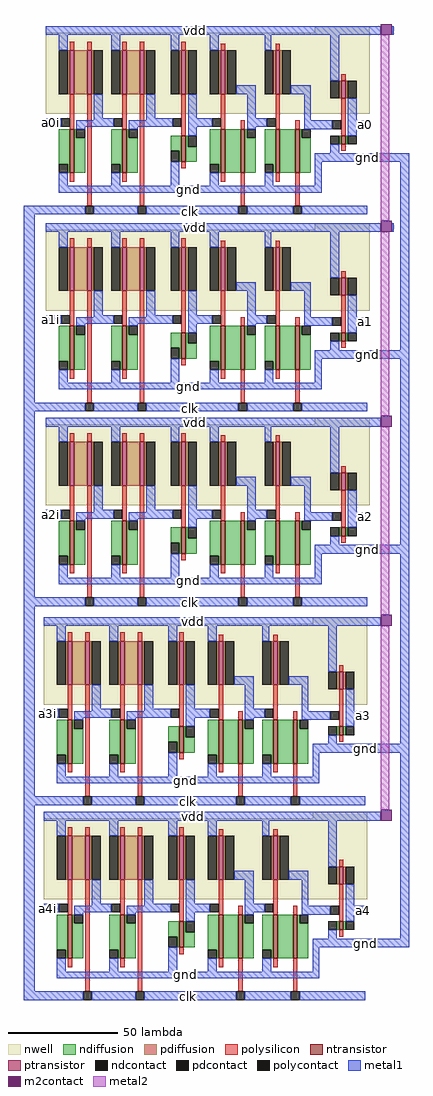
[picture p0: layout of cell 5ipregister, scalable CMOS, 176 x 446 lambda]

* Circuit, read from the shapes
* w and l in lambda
.subckt 5ipregister a0 a0i a1 a1i a2 a2i a3 a3i a4 a4i clk gnd vdd
M1 n1 a4i gnd VSUBS nfet w=20 l=2
M2 n2 a3i gnd VSUBS nfet w=20 l=2
M3 n3 a2i gnd VSUBS nfet w=20 l=2
M4 n4 a1i gnd VSUBS nfet w=20 l=2
M5 n5 a0i gnd VSUBS nfet w=20 l=2
M6 n6 n1 gnd VSUBS nfet w=20 l=2
M7 n7 n2 gnd VSUBS nfet w=20 l=2
M8 n8 n3 gnd VSUBS nfet w=20 l=2
M9 n9 n4 gnd VSUBS nfet w=20 l=2
M10 n10 n5 gnd VSUBS nfet w=20 l=2
M11 n11 n6 gnd VSUBS nfet w=12 l=2
M12 n12 n7 gnd VSUBS nfet w=12 l=2
M13 n13 n8 gnd VSUBS nfet w=12 l=2
M14 n14 n9 gnd VSUBS nfet w=12 l=2
M15 n15 n10 gnd VSUBS nfet w=12 l=2
M16 n16 n11 gnd VSUBS nfet w=20 l=2
M17 n17 n12 gnd VSUBS nfet w=20 l=2
M18 n18 n13 gnd VSUBS nfet w=20 l=2
M19 n19 n14 gnd VSUBS nfet w=20 l=2
M20 n20 n15 gnd VSUBS nfet w=20 l=2
M21 n21 clk n16 VSUBS nfet w=20 l=2
M22 n22 clk n17 VSUBS nfet w=20 l=2
M23 n23 clk n18 VSUBS nfet w=20 l=2
M24 n24 clk n19 VSUBS nfet w=20 l=2
M25 n25 clk n20 VSUBS nfet w=20 l=2
M26 n26 n21 gnd VSUBS nfet w=20 l=2
M27 n27 n22 gnd VSUBS nfet w=20 l=2
M28 n28 n23 gnd VSUBS nfet w=20 l=2
M29 n29 n24 gnd VSUBS nfet w=20 l=2
M30 n30 n25 gnd VSUBS nfet w=20 l=2
M31 n31 clk n26 VSUBS nfet w=20 l=2
M32 n32 clk n27 VSUBS nfet w=20 l=2
M33 n33 clk n28 VSUBS nfet w=20 l=2
M34 n34 clk n29 VSUBS nfet w=20 l=2
M35 n35 clk n30 VSUBS nfet w=20 l=2
M36 a4 n31 gnd VSUBS nfet w=4 l=2
M37 a3 n32 gnd VSUBS nfet w=4 l=2
M38 a2 n33 gnd VSUBS nfet w=4 l=2
M39 a1 n34 gnd VSUBS nfet w=4 l=2
M40 a0 n35 gnd VSUBS nfet w=4 l=2
M41 n36 a4i vdd n37 pfet w=20 l=2
M42 n38 a3i vdd n39 pfet w=20 l=2
M43 n40 a2i vdd n41 pfet w=20 l=2
M44 n42 a1i vdd n43 pfet w=20 l=2
M45 n44 a0i vdd n45 pfet w=20 l=2
M46 n1 clk n36 n37 pfet w=20 l=2
M47 n2 clk n38 n39 pfet w=20 l=2
M48 n3 clk n40 n41 pfet w=20 l=2
M49 n4 clk n42 n43 pfet w=20 l=2
M50 n5 clk n44 n45 pfet w=20 l=2
M51 n46 n1 vdd n37 pfet w=20 l=2
M52 n47 n2 vdd n39 pfet w=20 l=2
M53 n48 n3 vdd n41 pfet w=20 l=2
M54 n49 n4 vdd n43 pfet w=20 l=2
M55 n50 n5 vdd n45 pfet w=20 l=2
M56 n6 clk n46 n37 pfet w=20 l=2
M57 n7 clk n47 n39 pfet w=20 l=2
M58 n8 clk n48 n41 pfet w=20 l=2
M59 n9 clk n49 n43 pfet w=20 l=2
M60 n10 clk n50 n45 pfet w=20 l=2
M61 n11 n6 vdd n37 pfet w=20 l=2
M62 n12 n7 vdd n39 pfet w=20 l=2
M63 n13 n8 vdd n41 pfet w=20 l=2
M64 n14 n9 vdd n43 pfet w=20 l=2
M65 n15 n10 vdd n45 pfet w=20 l=2
M66 n21 n11 vdd n37 pfet w=20 l=2
M67 n22 n12 vdd n39 pfet w=20 l=2
M68 n23 n13 vdd n41 pfet w=20 l=2
M69 n24 n14 vdd n43 pfet w=20 l=2
M70 n25 n15 vdd n45 pfet w=20 l=2
M71 n31 n21 vdd n37 pfet w=20 l=2
M72 n32 n22 vdd n39 pfet w=20 l=2
M73 n33 n23 vdd n41 pfet w=20 l=2
M74 n34 n24 vdd n43 pfet w=20 l=2
M75 n35 n25 vdd n45 pfet w=20 l=2
M76 a4 n31 vdd n37 pfet w=8 l=2
M77 a3 n32 vdd n39 pfet w=8 l=2
M78 a2 n33 vdd n41 pfet w=8 l=2
M79 a1 n34 vdd n43 pfet w=8 l=2
M80 a0 n35 vdd n45 pfet w=8 l=2
.ends

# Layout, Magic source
magic
tech scmos
<< nwell >>
rect 122 83 147 86
rect -1 46 147 83
rect 122 -7 147 -4
rect -1 -44 147 -7
rect 122 -96 147 -93
rect -1 -133 147 -96
rect 121 -187 146 -184
rect -2 -224 146 -187
rect 121 -276 146 -273
rect -2 -313 146 -276
<< ntransistor >>
rect 10 19 12 39
rect 34 19 36 39
rect 61 24 63 36
rect 79 19 81 39
rect 88 19 90 39
rect 104 19 106 39
rect 113 19 115 39
rect 134 32 136 36
rect 10 -71 12 -51
rect 34 -71 36 -51
rect 61 -66 63 -54
rect 79 -71 81 -51
rect 88 -71 90 -51
rect 104 -71 106 -51
rect 113 -71 115 -51
rect 134 -58 136 -54
rect 10 -160 12 -140
rect 34 -160 36 -140
rect 61 -155 63 -143
rect 79 -160 81 -140
rect 88 -160 90 -140
rect 104 -160 106 -140
rect 113 -160 115 -140
rect 134 -147 136 -143
rect 9 -251 11 -231
rect 33 -251 35 -231
rect 60 -246 62 -234
rect 78 -251 80 -231
rect 87 -251 89 -231
rect 103 -251 105 -231
rect 112 -251 114 -231
rect 133 -238 135 -234
rect 9 -340 11 -320
rect 33 -340 35 -320
rect 60 -335 62 -323
rect 78 -340 80 -320
rect 87 -340 89 -320
rect 103 -340 105 -320
rect 112 -340 114 -320
rect 133 -327 135 -323
<< ptransistor >>
rect 10 55 12 75
rect 18 55 20 75
rect 34 55 36 75
rect 42 55 44 75
rect 61 55 63 75
rect 79 55 81 75
rect 104 55 106 75
rect 134 53 136 61
rect 10 -35 12 -15
rect 18 -35 20 -15
rect 34 -35 36 -15
rect 42 -35 44 -15
rect 61 -35 63 -15
rect 79 -35 81 -15
rect 104 -35 106 -15
rect 134 -37 136 -29
rect 10 -124 12 -104
rect 18 -124 20 -104
rect 34 -124 36 -104
rect 42 -124 44 -104
rect 61 -124 63 -104
rect 79 -124 81 -104
rect 104 -124 106 -104
rect 134 -126 136 -118
rect 9 -215 11 -195
rect 17 -215 19 -195
rect 33 -215 35 -195
rect 41 -215 43 -195
rect 60 -215 62 -195
rect 78 -215 80 -195
rect 103 -215 105 -195
rect 133 -217 135 -209
rect 9 -304 11 -284
rect 17 -304 19 -284
rect 33 -304 35 -284
rect 41 -304 43 -284
rect 60 -304 62 -284
rect 78 -304 80 -284
rect 103 -304 105 -284
rect 133 -306 135 -298
<< ndiffusion >>
rect 5 23 10 39
rect 9 19 10 23
rect 12 35 13 39
rect 12 19 17 35
rect 29 23 34 39
rect 33 19 34 23
rect 36 35 37 39
rect 36 19 41 35
rect 56 29 61 36
rect 60 24 61 29
rect 63 31 64 36
rect 63 24 68 31
rect 74 23 79 39
rect 78 19 79 23
rect 81 19 88 39
rect 90 35 91 39
rect 90 19 95 35
rect 99 23 104 39
rect 103 19 104 23
rect 106 19 113 39
rect 115 35 116 39
rect 115 19 120 35
rect 133 32 134 36
rect 136 32 137 36
rect 5 -67 10 -51
rect 9 -71 10 -67
rect 12 -55 13 -51
rect 12 -71 17 -55
rect 29 -67 34 -51
rect 33 -71 34 -67
rect 36 -55 37 -51
rect 36 -71 41 -55
rect 56 -61 61 -54
rect 60 -66 61 -61
rect 63 -59 64 -54
rect 63 -66 68 -59
rect 74 -67 79 -51
rect 78 -71 79 -67
rect 81 -71 88 -51
rect 90 -55 91 -51
rect 90 -71 95 -55
rect 99 -67 104 -51
rect 103 -71 104 -67
rect 106 -71 113 -51
rect 115 -55 116 -51
rect 115 -71 120 -55
rect 133 -58 134 -54
rect 136 -58 137 -54
rect 5 -156 10 -140
rect 9 -160 10 -156
rect 12 -144 13 -140
rect 12 -160 17 -144
rect 29 -156 34 -140
rect 33 -160 34 -156
rect 36 -144 37 -140
rect 36 -160 41 -144
rect 56 -150 61 -143
rect 60 -155 61 -150
rect 63 -148 64 -143
rect 63 -155 68 -148
rect 74 -156 79 -140
rect 78 -160 79 -156
rect 81 -160 88 -140
rect 90 -144 91 -140
rect 90 -160 95 -144
rect 99 -156 104 -140
rect 103 -160 104 -156
rect 106 -160 113 -140
rect 115 -144 116 -140
rect 115 -160 120 -144
rect 133 -147 134 -143
rect 136 -147 137 -143
rect 4 -247 9 -231
rect 8 -251 9 -247
rect 11 -235 12 -231
rect 11 -251 16 -235
rect 28 -247 33 -231
rect 32 -251 33 -247
rect 35 -235 36 -231
rect 35 -251 40 -235
rect 55 -241 60 -234
rect 59 -246 60 -241
rect 62 -239 63 -234
rect 62 -246 67 -239
rect 73 -247 78 -231
rect 77 -251 78 -247
rect 80 -251 87 -231
rect 89 -235 90 -231
rect 89 -251 94 -235
rect 98 -247 103 -231
rect 102 -251 103 -247
rect 105 -251 112 -231
rect 114 -235 115 -231
rect 114 -251 119 -235
rect 132 -238 133 -234
rect 135 -238 136 -234
rect 4 -336 9 -320
rect 8 -340 9 -336
rect 11 -324 12 -320
rect 11 -340 16 -324
rect 28 -336 33 -320
rect 32 -340 33 -336
rect 35 -324 36 -320
rect 35 -340 40 -324
rect 55 -330 60 -323
rect 59 -335 60 -330
rect 62 -328 63 -323
rect 62 -335 67 -328
rect 73 -336 78 -320
rect 77 -340 78 -336
rect 80 -340 87 -320
rect 89 -324 90 -320
rect 89 -340 94 -324
rect 98 -336 103 -320
rect 102 -340 103 -336
rect 105 -340 112 -320
rect 114 -324 115 -320
rect 114 -340 119 -324
rect 132 -327 133 -323
rect 135 -327 136 -323
<< pdiffusion >>
rect 9 55 10 75
rect 12 55 18 75
rect 20 55 21 75
rect 33 55 34 75
rect 36 55 42 75
rect 44 55 45 75
rect 60 55 61 75
rect 63 55 64 75
rect 78 55 79 75
rect 81 55 82 75
rect 103 55 104 75
rect 106 55 107 75
rect 133 53 134 61
rect 136 53 137 61
rect 9 -35 10 -15
rect 12 -35 18 -15
rect 20 -35 21 -15
rect 33 -35 34 -15
rect 36 -35 42 -15
rect 44 -35 45 -15
rect 60 -35 61 -15
rect 63 -35 64 -15
rect 78 -35 79 -15
rect 81 -35 82 -15
rect 103 -35 104 -15
rect 106 -35 107 -15
rect 133 -37 134 -29
rect 136 -37 137 -29
rect 9 -124 10 -104
rect 12 -124 18 -104
rect 20 -124 21 -104
rect 33 -124 34 -104
rect 36 -124 42 -104
rect 44 -124 45 -104
rect 60 -124 61 -104
rect 63 -124 64 -104
rect 78 -124 79 -104
rect 81 -124 82 -104
rect 103 -124 104 -104
rect 106 -124 107 -104
rect 133 -126 134 -118
rect 136 -126 137 -118
rect 8 -215 9 -195
rect 11 -215 17 -195
rect 19 -215 20 -195
rect 32 -215 33 -195
rect 35 -215 41 -195
rect 43 -215 44 -195
rect 59 -215 60 -195
rect 62 -215 63 -195
rect 77 -215 78 -195
rect 80 -215 81 -195
rect 102 -215 103 -195
rect 105 -215 106 -195
rect 132 -217 133 -209
rect 135 -217 136 -209
rect 8 -304 9 -284
rect 11 -304 17 -284
rect 19 -304 20 -284
rect 32 -304 33 -284
rect 35 -304 41 -284
rect 43 -304 44 -284
rect 59 -304 60 -284
rect 62 -304 63 -284
rect 77 -304 78 -284
rect 80 -304 81 -284
rect 102 -304 103 -284
rect 105 -304 106 -284
rect 132 -306 133 -298
rect 135 -306 136 -298
<< ndcontact >>
rect 5 19 9 23
rect 13 35 17 39
rect 29 19 33 23
rect 37 35 41 39
rect 56 24 60 29
rect 64 31 68 36
rect 74 19 78 23
rect 91 35 95 39
rect 99 19 103 23
rect 116 35 120 39
rect 129 32 133 36
rect 137 32 141 36
rect 5 -71 9 -67
rect 13 -55 17 -51
rect 29 -71 33 -67
rect 37 -55 41 -51
rect 56 -66 60 -61
rect 64 -59 68 -54
rect 74 -71 78 -67
rect 91 -55 95 -51
rect 99 -71 103 -67
rect 116 -55 120 -51
rect 129 -58 133 -54
rect 137 -58 141 -54
rect 5 -160 9 -156
rect 13 -144 17 -140
rect 29 -160 33 -156
rect 37 -144 41 -140
rect 56 -155 60 -150
rect 64 -148 68 -143
rect 74 -160 78 -156
rect 91 -144 95 -140
rect 99 -160 103 -156
rect 116 -144 120 -140
rect 129 -147 133 -143
rect 137 -147 141 -143
rect 4 -251 8 -247
rect 12 -235 16 -231
rect 28 -251 32 -247
rect 36 -235 40 -231
rect 55 -246 59 -241
rect 63 -239 67 -234
rect 73 -251 77 -247
rect 90 -235 94 -231
rect 98 -251 102 -247
rect 115 -235 119 -231
rect 128 -238 132 -234
rect 136 -238 140 -234
rect 4 -340 8 -336
rect 12 -324 16 -320
rect 28 -340 32 -336
rect 36 -324 40 -320
rect 55 -335 59 -330
rect 63 -328 67 -323
rect 73 -340 77 -336
rect 90 -324 94 -320
rect 98 -340 102 -336
rect 115 -324 119 -320
rect 128 -327 132 -323
rect 136 -327 140 -323
<< pdcontact >>
rect 5 55 9 75
rect 21 55 25 75
rect 29 55 33 75
rect 45 55 49 75
rect 56 55 60 75
rect 64 55 68 75
rect 74 55 78 75
rect 82 55 86 75
rect 99 55 103 75
rect 107 55 111 75
rect 129 53 133 61
rect 137 53 141 61
rect 5 -35 9 -15
rect 21 -35 25 -15
rect 29 -35 33 -15
rect 45 -35 49 -15
rect 56 -35 60 -15
rect 64 -35 68 -15
rect 74 -35 78 -15
rect 82 -35 86 -15
rect 99 -35 103 -15
rect 107 -35 111 -15
rect 129 -37 133 -29
rect 137 -37 141 -29
rect 5 -124 9 -104
rect 21 -124 25 -104
rect 29 -124 33 -104
rect 45 -124 49 -104
rect 56 -124 60 -104
rect 64 -124 68 -104
rect 74 -124 78 -104
rect 82 -124 86 -104
rect 99 -124 103 -104
rect 107 -124 111 -104
rect 129 -126 133 -118
rect 137 -126 141 -118
rect 4 -215 8 -195
rect 20 -215 24 -195
rect 28 -215 32 -195
rect 44 -215 48 -195
rect 55 -215 59 -195
rect 63 -215 67 -195
rect 73 -215 77 -195
rect 81 -215 85 -195
rect 98 -215 102 -195
rect 106 -215 110 -195
rect 128 -217 132 -209
rect 136 -217 140 -209
rect 4 -304 8 -284
rect 20 -304 24 -284
rect 28 -304 32 -284
rect 44 -304 48 -284
rect 55 -304 59 -284
rect 63 -304 67 -284
rect 73 -304 77 -284
rect 81 -304 85 -284
rect 98 -304 102 -284
rect 106 -304 110 -284
rect 128 -306 132 -298
rect 136 -306 140 -298
<< polysilicon >>
rect 10 75 12 79
rect 18 75 20 79
rect 34 75 36 79
rect 42 75 44 79
rect 61 75 63 79
rect 79 75 81 78
rect 104 75 106 78
rect 134 61 136 64
rect 10 39 12 55
rect 10 15 12 19
rect 18 4 20 55
rect 34 39 36 55
rect 34 15 36 19
rect 42 4 44 55
rect 61 36 63 55
rect 79 39 81 55
rect 88 39 90 43
rect 104 39 106 55
rect 113 39 115 43
rect 61 21 63 24
rect 134 36 136 53
rect 134 29 136 32
rect 79 15 81 19
rect 88 4 90 19
rect 104 15 106 19
rect 113 4 115 19
rect 10 -15 12 -11
rect 18 -15 20 -11
rect 34 -15 36 -11
rect 42 -15 44 -11
rect 61 -15 63 -11
rect 79 -15 81 -12
rect 104 -15 106 -12
rect 134 -29 136 -26
rect 10 -51 12 -35
rect 10 -75 12 -71
rect 18 -86 20 -35
rect 34 -51 36 -35
rect 34 -75 36 -71
rect 42 -86 44 -35
rect 61 -54 63 -35
rect 79 -51 81 -35
rect 88 -51 90 -47
rect 104 -51 106 -35
rect 113 -51 115 -47
rect 61 -69 63 -66
rect 134 -54 136 -37
rect 134 -61 136 -58
rect 79 -75 81 -71
rect 88 -86 90 -71
rect 104 -75 106 -71
rect 113 -86 115 -71
rect 10 -104 12 -100
rect 18 -104 20 -100
rect 34 -104 36 -100
rect 42 -104 44 -100
rect 61 -104 63 -100
rect 79 -104 81 -101
rect 104 -104 106 -101
rect 134 -118 136 -115
rect 10 -140 12 -124
rect 10 -164 12 -160
rect 18 -175 20 -124
rect 34 -140 36 -124
rect 34 -164 36 -160
rect 42 -175 44 -124
rect 61 -143 63 -124
rect 79 -140 81 -124
rect 88 -140 90 -136
rect 104 -140 106 -124
rect 113 -140 115 -136
rect 61 -158 63 -155
rect 134 -143 136 -126
rect 134 -150 136 -147
rect 79 -164 81 -160
rect 88 -175 90 -160
rect 104 -164 106 -160
rect 113 -175 115 -160
rect 9 -195 11 -191
rect 17 -195 19 -191
rect 33 -195 35 -191
rect 41 -195 43 -191
rect 60 -195 62 -191
rect 78 -195 80 -192
rect 103 -195 105 -192
rect 133 -209 135 -206
rect 9 -231 11 -215
rect 9 -255 11 -251
rect 17 -266 19 -215
rect 33 -231 35 -215
rect 33 -255 35 -251
rect 41 -266 43 -215
rect 60 -234 62 -215
rect 78 -231 80 -215
rect 87 -231 89 -227
rect 103 -231 105 -215
rect 112 -231 114 -227
rect 60 -249 62 -246
rect 133 -234 135 -217
rect 133 -241 135 -238
rect 78 -255 80 -251
rect 87 -266 89 -251
rect 103 -255 105 -251
rect 112 -266 114 -251
rect 9 -284 11 -280
rect 17 -284 19 -280
rect 33 -284 35 -280
rect 41 -284 43 -280
rect 60 -284 62 -280
rect 78 -284 80 -281
rect 103 -284 105 -281
rect 133 -298 135 -295
rect 9 -320 11 -304
rect 9 -344 11 -340
rect 17 -355 19 -304
rect 33 -320 35 -304
rect 33 -344 35 -340
rect 41 -355 43 -304
rect 60 -323 62 -304
rect 78 -320 80 -304
rect 87 -320 89 -316
rect 103 -320 105 -304
rect 112 -320 114 -316
rect 60 -338 62 -335
rect 133 -323 135 -306
rect 133 -330 135 -327
rect 78 -344 80 -340
rect 87 -355 89 -340
rect 103 -344 105 -340
rect 112 -355 114 -340
<< polycontact >>
rect 6 40 10 44
rect 30 40 34 44
rect 57 40 61 44
rect 75 40 79 44
rect 100 40 104 44
rect 130 39 134 43
rect 17 0 21 4
rect 41 0 45 4
rect 87 0 91 4
rect 112 0 116 4
rect 6 -50 10 -46
rect 30 -50 34 -46
rect 57 -50 61 -46
rect 75 -50 79 -46
rect 100 -50 104 -46
rect 130 -51 134 -47
rect 17 -90 21 -86
rect 41 -90 45 -86
rect 87 -90 91 -86
rect 112 -90 116 -86
rect 6 -139 10 -135
rect 30 -139 34 -135
rect 57 -139 61 -135
rect 75 -139 79 -135
rect 100 -139 104 -135
rect 130 -140 134 -136
rect 17 -179 21 -175
rect 41 -179 45 -175
rect 87 -179 91 -175
rect 112 -179 116 -175
rect 5 -230 9 -226
rect 29 -230 33 -226
rect 56 -230 60 -226
rect 74 -230 78 -226
rect 99 -230 103 -226
rect 129 -231 133 -227
rect 16 -270 20 -266
rect 40 -270 44 -266
rect 86 -270 90 -266
rect 111 -270 115 -266
rect 5 -319 9 -315
rect 29 -319 33 -315
rect 56 -319 60 -315
rect 74 -319 78 -315
rect 99 -319 103 -315
rect 129 -320 133 -316
rect 16 -359 20 -355
rect 40 -359 44 -355
rect 86 -359 90 -355
rect 111 -359 115 -355
<< metal1 >>
rect -1 82 152 86
rect 157 82 158 86
rect 5 75 9 82
rect 29 75 33 82
rect 56 75 60 82
rect 74 75 78 82
rect 99 75 102 82
rect 86 55 95 59
rect 129 61 133 82
rect 111 55 120 59
rect 21 44 25 55
rect 45 44 49 55
rect 64 44 68 55
rect 91 44 95 55
rect -1 40 6 44
rect 21 43 30 44
rect 13 40 30 43
rect 45 43 57 44
rect 37 40 57 43
rect 64 40 75 44
rect 91 40 100 44
rect 117 43 120 55
rect 137 43 141 53
rect 13 39 17 40
rect 37 39 41 40
rect 64 36 68 40
rect 91 39 95 40
rect 117 39 130 43
rect 137 39 147 43
rect 137 36 141 39
rect 129 28 133 32
rect 5 13 9 19
rect 29 13 33 19
rect 56 13 60 24
rect 122 24 165 28
rect 74 13 78 19
rect 99 13 103 19
rect 122 13 125 24
rect 5 10 125 13
rect -11 0 17 4
rect 21 0 41 4
rect 45 0 87 4
rect 91 0 112 4
rect 116 0 146 4
rect -11 -86 -6 0
rect -1 -8 152 -4
rect 157 -8 158 -4
rect 5 -15 9 -8
rect 29 -15 33 -8
rect 56 -15 60 -8
rect 74 -15 78 -8
rect 99 -15 102 -8
rect 86 -35 95 -31
rect 129 -29 133 -8
rect 111 -35 120 -31
rect 21 -46 25 -35
rect 45 -46 49 -35
rect 64 -46 68 -35
rect 91 -46 95 -35
rect -1 -50 6 -46
rect 21 -47 30 -46
rect 13 -50 30 -47
rect 45 -47 57 -46
rect 37 -50 57 -47
rect 64 -50 75 -46
rect 91 -50 100 -46
rect 117 -47 120 -35
rect 137 -47 141 -37
rect 13 -51 17 -50
rect 37 -51 41 -50
rect 64 -54 68 -50
rect 91 -51 95 -50
rect 117 -51 130 -47
rect 137 -51 147 -47
rect 137 -54 141 -51
rect 129 -62 133 -58
rect 161 -62 165 24
rect 5 -77 9 -71
rect 29 -77 33 -71
rect 56 -77 60 -66
rect 122 -66 165 -62
rect 74 -77 78 -71
rect 99 -77 103 -71
rect 122 -77 125 -66
rect 5 -80 125 -77
rect -11 -90 17 -86
rect 21 -90 41 -86
rect 45 -90 87 -86
rect 91 -90 112 -86
rect 116 -90 146 -86
rect -11 -175 -6 -90
rect -1 -97 152 -93
rect 5 -104 9 -97
rect 29 -104 33 -97
rect 56 -104 60 -97
rect 74 -104 78 -97
rect 99 -104 102 -97
rect 86 -124 95 -120
rect 129 -118 133 -97
rect 111 -124 120 -120
rect 21 -135 25 -124
rect 45 -135 49 -124
rect 64 -135 68 -124
rect 91 -135 95 -124
rect -1 -139 6 -135
rect 21 -136 30 -135
rect 13 -139 30 -136
rect 45 -136 57 -135
rect 37 -139 57 -136
rect 64 -139 75 -135
rect 91 -139 100 -135
rect 117 -136 120 -124
rect 137 -136 141 -126
rect 13 -140 17 -139
rect 37 -140 41 -139
rect 64 -143 68 -139
rect 91 -140 95 -139
rect 117 -140 130 -136
rect 137 -140 147 -136
rect 137 -143 141 -140
rect 129 -151 133 -147
rect 161 -151 165 -66
rect 5 -166 9 -160
rect 29 -166 33 -160
rect 56 -166 60 -155
rect 122 -155 165 -151
rect 74 -166 78 -160
rect 99 -166 103 -160
rect 122 -166 125 -155
rect 5 -169 125 -166
rect -11 -179 17 -175
rect 21 -179 41 -175
rect 45 -179 87 -175
rect 91 -179 112 -175
rect 116 -179 146 -175
rect -11 -266 -6 -179
rect -2 -188 152 -184
rect 4 -195 8 -188
rect 28 -195 32 -188
rect 55 -195 59 -188
rect 73 -195 77 -188
rect 98 -195 101 -188
rect 85 -215 94 -211
rect 128 -209 132 -188
rect 110 -215 119 -211
rect 20 -226 24 -215
rect 44 -226 48 -215
rect 63 -226 67 -215
rect 90 -226 94 -215
rect -2 -230 5 -226
rect 20 -227 29 -226
rect 12 -230 29 -227
rect 44 -227 56 -226
rect 36 -230 56 -227
rect 63 -230 74 -226
rect 90 -230 99 -226
rect 116 -227 119 -215
rect 136 -227 140 -217
rect 12 -231 16 -230
rect 36 -231 40 -230
rect 63 -234 67 -230
rect 90 -231 94 -230
rect 116 -231 129 -227
rect 136 -231 146 -227
rect 136 -234 140 -231
rect 128 -242 132 -238
rect 161 -242 165 -155
rect 4 -257 8 -251
rect 28 -257 32 -251
rect 55 -257 59 -246
rect 121 -246 165 -242
rect 73 -257 77 -251
rect 98 -257 102 -251
rect 121 -257 124 -246
rect 4 -260 124 -257
rect -11 -270 16 -266
rect 20 -270 40 -266
rect 44 -270 86 -266
rect 90 -270 111 -266
rect 115 -270 145 -266
rect -11 -355 -6 -270
rect -2 -277 152 -273
rect 4 -284 8 -277
rect 28 -284 32 -277
rect 55 -284 59 -277
rect 73 -284 77 -277
rect 98 -284 101 -277
rect 85 -304 94 -300
rect 128 -298 132 -277
rect 110 -304 119 -300
rect 20 -315 24 -304
rect 44 -315 48 -304
rect 63 -315 67 -304
rect 90 -315 94 -304
rect -2 -319 5 -315
rect 20 -316 29 -315
rect 12 -319 29 -316
rect 44 -316 56 -315
rect 36 -319 56 -316
rect 63 -319 74 -315
rect 90 -319 99 -315
rect 116 -316 119 -304
rect 136 -316 140 -306
rect 12 -320 16 -319
rect 36 -320 40 -319
rect 63 -323 67 -319
rect 90 -320 94 -319
rect 116 -320 129 -316
rect 136 -320 146 -316
rect 136 -323 140 -320
rect 128 -331 132 -327
rect 161 -331 165 -246
rect 4 -346 8 -340
rect 28 -346 32 -340
rect 55 -346 59 -335
rect 121 -335 165 -331
rect 73 -346 77 -340
rect 98 -346 102 -340
rect 121 -346 124 -335
rect 4 -349 124 -346
rect -11 -359 16 -355
rect 20 -359 40 -355
rect 44 -359 86 -355
rect 90 -359 111 -355
rect 115 -359 145 -355
<< m2contact >>
rect 152 82 157 87
rect 152 -8 157 -3
rect 152 -97 157 -92
rect 152 -188 157 -183
rect 152 -277 157 -272
<< metal2 >>
rect 152 -3 156 82
rect 152 -92 156 -8
rect 152 -183 156 -97
rect 152 -272 156 -188
<< labels >>
rlabel metal1 15 83 120 85 5 vdd
rlabel metal1 62 0 68 3 1 clk
rlabel metal1 57 10 71 13 1 gnd
rlabel metal1 146 26 146 26 8 gnd
rlabel metal1 15 -7 120 -5 5 vdd
rlabel metal1 62 -90 68 -87 1 clk
rlabel metal1 57 -80 71 -77 1 gnd
rlabel metal1 146 -64 146 -64 8 gnd
rlabel metal1 15 -96 120 -94 5 vdd
rlabel metal1 62 -179 68 -176 1 clk
rlabel metal1 57 -169 71 -166 1 gnd
rlabel metal1 14 -187 119 -185 5 vdd
rlabel metal1 61 -270 67 -267 1 clk
rlabel metal1 56 -260 70 -257 1 gnd
rlabel metal1 145 -244 145 -244 8 gnd
rlabel metal1 14 -276 119 -274 5 vdd
rlabel metal1 61 -359 67 -356 1 clk
rlabel metal1 56 -349 70 -346 1 gnd
rlabel metal1 145 -333 145 -333 8 gnd
rlabel metal1 146 -153 146 -153 8 gnd
rlabel metal1 -1 40 3 44 1 a0i
rlabel metal1 -1 -50 3 -46 1 a1i
rlabel metal1 -1 -139 3 -135 1 a2i
rlabel metal1 -2 -230 2 -226 1 a3i
rlabel metal1 -2 -319 2 -315 1 a4i
rlabel metal1 143 39 147 43 1 a0
rlabel metal1 143 -51 147 -47 1 a1
rlabel metal1 143 -140 147 -136 1 a2
rlabel metal1 142 -231 146 -227 1 a3
rlabel metal1 142 -320 146 -316 1 a4
<< end >>
